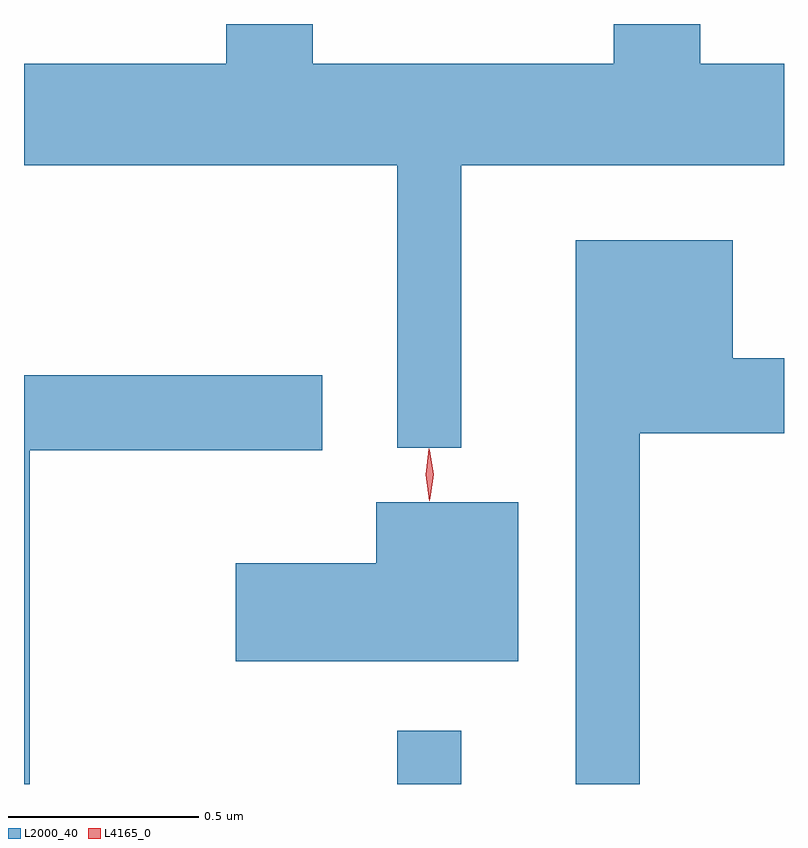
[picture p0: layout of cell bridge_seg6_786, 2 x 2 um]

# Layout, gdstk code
import gdstk
lib = gdstk.Library(unit=1e-6, precision=1e-09)
def R(c, l, rs):  # rectangles x0, y0, x1, y1
    for r in rs: c.add(gdstk.rectangle(r[:2], r[2:], *l))
def P(c, l, *ps):  # polygons
    for p in ps: c.add(gdstk.Polygon(p, *l))
L2000_40 = (2000, 40)
L4165_0 = (4165, 0)

bridge_seg6_786 = lib.new_cell('bridge_seg6_786')
R(bridge_seg6_786, L2000_40, [(413.301,1583.928,413.469,1584.068)])
P(bridge_seg6_786, L2000_40, [(413.469,1585.556),(414.319,1585.556),(414.319,1585.824),(414.099,1585.824),(414.099,1585.928),(413.871,1585.928),(413.871,1585.824),(413.079,1585.824),(413.079,1585.928),(412.851,1585.928),(412.851,1585.824),(412.319,1585.824),(412.319,1585.556),(413.301,1585.556),(413.301,1584.813),(413.469,1584.813)],
  [(413.939,1584.851),(414.319,1584.851),(414.319,1585.049),(414.184,1585.049),(414.184,1585.359),(413.771,1585.359),(413.771,1583.928),(413.939,1583.928)],
  [(412.334,1584.806),(413.104,1584.806),(413.104,1585.004),(412.319,1585.004),(412.319,1583.928),(412.334,1583.928)],
  [(413.619,1584.669),(413.246,1584.669),(413.246,1584.509),(412.876,1584.509),(412.876,1584.251),(413.619,1584.251)])
P(bridge_seg6_786, L4165_0, [(413.386,1584.674),(413.386,1584.674),(413.376,1584.742),(413.384,1584.81),(413.385,1584.81),(413.386,1584.81),(413.396,1584.742),(413.387,1584.674)],
  [(413.387,1584.68),(413.387,1584.68),(413.377,1584.743),(413.386,1584.806),(413.386,1584.807),(413.387,1584.806),(413.397,1584.743),(413.388,1584.68)])

lib.write_gds('bridge_seg6_786.gds')
